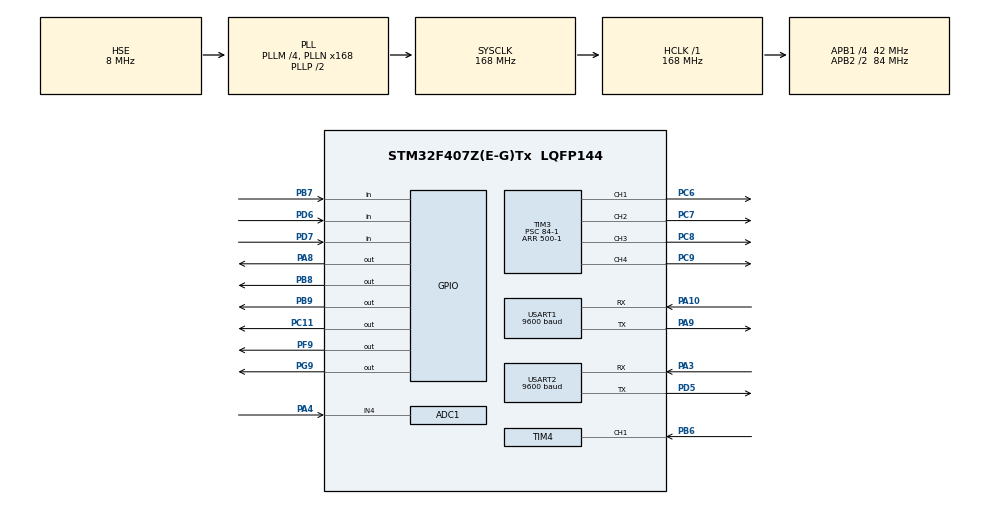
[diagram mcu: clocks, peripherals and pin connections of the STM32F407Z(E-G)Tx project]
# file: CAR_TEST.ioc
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ADC1.Channel-1\#ChannelRegularConversion=ADC_CHANNEL_4
ADC1.NbrOfConversionFlag=1
ADC1.Rank-1\#ChannelRegularConversion=1
ADC1.SamplingTime-1\#ChannelRegularConversion=ADC_SAMPLETIME_3CYCLES
ADC1.master=1
Mcu.Family=STM32F4
Mcu.Name=STM32F407Z(E-G)Tx
Mcu.Package=LQFP144
NVIC.PriorityGroup=NVIC_PRIORITYGROUP_4
NVIC.TIM1_UP_TIM10_IRQn=true\:0\:0\:false\:false\:true\:true\:true\:true
NVIC.TIM4_IRQn=true\:0\:0\:false\:false\:true\:true\:true\:true
NVIC.USART1_IRQn=true\:0\:0\:false\:false\:true\:true\:true\:true
NVIC.USART2_IRQn=true\:0\:0\:false\:false\:true\:true\:true\:true
PA10.Mode=Asynchronous
PA10.Signal=USART1_RX
PA13.Mode=Serial_Wire
PA13.Signal=SYS_JTMS-SWDIO
PA14.Mode=Serial_Wire
PA14.Signal=SYS_JTCK-SWCLK
PA3.Mode=Asynchronous
PA3.Signal=USART2_RX
PA4.Signal=ADCx_IN4
PA8.Signal=GPIO_Output
PA9.Mode=Asynchronous
PA9.Signal=USART1_TX
PB6.GPIO_PuPd=GPIO_NOPULL
PB6.GPIO_Speed=GPIO_SPEED_FREQ_VERY_HIGH
PB6.Signal=S_TIM4_CH1
PB7.GPIO_PuPd=GPIO_PULLUP
PB7.Signal=GPIO_Input
PB8.GPIO_ModeDefaultOutputPP=GPIO_MODE_OUTPUT_PP
PB8.GPIO_PuPd=GPIO_PULLUP
PB8.GPIO_Speed=GPIO_SPEED_FREQ_VERY_HIGH
PB8.PinState=GPIO_PIN_SET
PB8.Signal=GPIO_Output
PB9.GPIO_ModeDefaultOutputPP=GPIO_MODE_OUTPUT_PP
PB9.GPIO_PuPd=GPIO_PULLUP
PB9.GPIO_Speed=GPIO_SPEED_FREQ_VERY_HIGH
PB9.PinState=GPIO_PIN_SET
PB9.Signal=GPIO_Output
PC11.GPIO_PuPd=GPIO_PULLUP
PC11.GPIO_Speed=GPIO_SPEED_FREQ_VERY_HIGH
PC11.PinState=GPIO_PIN_RESET
PC11.Signal=GPIO_Output
PC14-OSC32_IN.Mode=LSE-External-Oscillator
PC14-OSC32_IN.Signal=RCC_OSC32_IN
PC15-OSC32_OUT.Mode=LSE-External-Oscillator
PC15-OSC32_OUT.Signal=RCC_OSC32_OUT
PC6.Signal=S_TIM3_CH1
PC7.Signal=S_TIM3_CH2
PC8.Signal=S_TIM3_CH3
PC9.Signal=S_TIM3_CH4
PD5.Mode=Asynchronous
PD5.Signal=USART2_TX
PD6.Signal=GPIO_Input
PD7.GPIO_Mode=GPIO_MODE_INPUT
PD7.GPIO_PuPd=GPIO_NOPULL
PD7.Signal=GPIO_Input
PF9.GPIO_ModeDefaultOutputPP=GPIO_MODE_OUTPUT_PP
PF9.GPIO_PuPd=GPIO_PULLUP
PF9.GPIO_Speed=GPIO_SPEED_FREQ_VERY_HIGH
PF9.PinState=GPIO_PIN_RESET
PF9.Signal=GPIO_Output
PG9.GPIO_PuPd=GPIO_PULLUP
PG9.GPIO_Speed=GPIO_SPEED_FREQ_VERY_HIGH
PG9.PinState=GPIO_PIN_SET
PG9.Signal=GPIO_Output
PH0-OSC_IN.Mode=HSE-External-Oscillator
PH0-OSC_IN.Signal=RCC_OSC_IN
PH1-OSC_OUT.Mode=HSE-External-Oscillator
PH1-OSC_OUT.Signal=RCC_OSC_OUT
ProjectManager.HeapSize=0x200
ProjectManager.StackSize=0x400
ProjectManager.TargetToolchain=MDK-ARM V5.32
RCC.48MHZClocksFreq_Value=84000000
RCC.AHBFreq_Value=168000000
RCC.APB1CLKDivider=RCC_HCLK_DIV4
RCC.APB1Freq_Value=42000000
RCC.APB1TimFreq_Value=84000000
RCC.APB2CLKDivider=RCC_HCLK_DIV2
RCC.APB2Freq_Value=84000000
RCC.APB2TimFreq_Value=168000000
RCC.CortexFreq_Value=168000000
RCC.HCLKFreq_Value=168000000
RCC.HSE_VALUE=8000000
RCC.HSI_VALUE=16000000
RCC.PLLM=4
RCC.PLLN=168
RCC.PLLSourceVirtual=RCC_PLLSOURCE_HSE
RCC.SYSCLKFreq_VALUE=168000000
RCC.SYSCLKSource=RCC_SYSCLKSOURCE_PLLCLK
RCC.VCOOutputFreq_Value=336000000
SH.ADCx_IN4.0=ADC1_IN4,IN4
SH.S_TIM3_CH1.0=TIM3_CH1,PWM Generation1 CH1
SH.S_TIM3_CH2.0=TIM3_CH2,PWM Generation2 CH2
SH.S_TIM3_CH3.0=TIM3_CH3,PWM Generation3 CH3
SH.S_TIM3_CH4.0=TIM3_CH4,PWM Generation4 CH4
SH.S_TIM4_CH1.0=TIM4_CH1,Input_Capture1_from_TI1
TIM10.AutoReloadPreload=TIM_AUTORELOAD_PRELOAD_ENABLE
TIM10.Period=20000-1
TIM10.Prescaler=8400-1
TIM3.Channel-PWM\ Generation1\ CH1=TIM_CHANNEL_1
TIM3.Channel-PWM\ Generation2\ CH2=TIM_CHANNEL_2
TIM3.Channel-PWM\ Generation3\ CH3=TIM_CHANNEL_3
TIM3.Channel-PWM\ Generation4\ CH4=TIM_CHANNEL_4
TIM3.Period=500-1
TIM3.Prescaler=84-1
TIM4.AutoReloadPreload=TIM_AUTORELOAD_PRELOAD_DISABLE
TIM4.Channel-Input_Capture1_from_TI1=TIM_CHANNEL_1
TIM4.ICFilter_CH1=0
TIM4.Prescaler=84-1
USART1.BaudRate=9600
USART1.VirtualMode=VM_ASYNC
USART2.BaudRate=9600
USART2.VirtualMode=VM_ASYNC
VP_TIM10_VS_ClockSourceINT.Mode=Enable_Timer
VP_TIM3_VS_ClockSourceINT.Mode=Internal
VP_TIM4_VS_ClockSourceINT.Mode=Internal
board=custom

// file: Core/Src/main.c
/* USER CODE BEGIN Header */
/**
  ******************************************************************************
  * @file           : main.c
  * @brief          : Main program body
  ******************************************************************************
  * @attention
  *
  * Copyright (c) 2023 STMicroelectronics.
  * All rights reserved.
  *
  * This software is licensed under terms that can be found in the LICENSE file
  * in the root directory of this software component.
  * If no LICENSE file comes with this software, it is provided AS-IS.
  *
  ******************************************************************************
  */
/* USER CODE END Header */
#include "main.h"
#include "adc.h"
#include "tim.h"
#include "usart.h"
#include "gpio.h"

/* USER CODE BEGIN Includes */
#include "getdata.h"
#include "stdio.h"
#include "oled.h"
#include "MyI2C.h"
/* USER CODE END Includes */

void SystemClock_Config(void);

/* USER CODE BEGIN 0 */
uint16_t RxBuffer[10] = {0};
uint8_t flag_capture = 0;
uint8_t temperature = 1;  //温度
uint8_t humidity = 1;     //湿度
void HAL_TIM_PeriodElapsedCallback(TIM_HandleTypeDef *htim)
{
	uint16_t MQ_2_Data = 0;

	if(htim == &htim10)
	{
		MQ_2_Data = Get_Adc(MQ_2_Data);
		//接收DHT11的温度和湿度的值
		//DHT11_Read_Data(&temperature , &humidity);
		OLED_P6x8Num(45,1,MQ_2_Data,4);
		OLED_P6x8Num(32,2,temperature,4);
		OLED_P6x8Num(32,3,humidity,4);
	}
}

//void HAL_TIM_IC_CaptureCallback(TIM_HandleTypeDef *htim)
//{
//	//HAL_GPIO_WritePin(GPIOF,GPIO_PIN_9,GPIO_PIN_RESET);
//	if(htim->Instance == TIM4)
//	{
//		if(!flag_capture)
//		{
//			//HAL_GPIO_WritePin(GPIOF,GPIO_PIN_9,GPIO_PIN_RESET);
//			flag_capture = 1;
//			RxBuffer[1] = HAL_TIM_ReadCapturedValue(&htim4,TIM_CHANNEL_1);//获取当前的捕获值.
//			//printf("buf1: %d",RxBuffer[1]);
//			//HAL_TIM_IC_Start_IT(&htim4,TIM_CHANNEL_1);
//			__HAL_TIM_SET_CAPTUREPOLARITY(&htim4,TIM_CHANNEL_1,TIM_ICPOLARITY_FALLING);
//			return;
//		}
//		else if(flag_capture)
//		{
//			//HAL_GPIO_WritePin(GPIOF,GPIO_PIN_9,GPIO_PIN_RESET);
//			RxBuffer[2] = HAL_TIM_ReadCapturedValue(&htim4,TIM_CHANNEL_1);//获取当前的捕获值.
//			//printf("buf2: %d\n\r",RxBuffer[2]);
//
//			__HAL_TIM_SET_COUNTER(&htim4,0);
//			HAL_TIM_IC_Stop_IT(&htim4,TIM_CHANNEL_1);
//			flag_capture = 2;
//			return;
//		}
//	}
//}

void HAL_UART_RxCpltCallback(UART_HandleTypeDef *huart)
{
    if(huart->Instance == USART2)
	{
		HAL_UART_Receive_IT(&huart2,(uint8_t *)RxBuffer, 1); // 写在if判断里面不好用，写在最后面
	}
}

/* USER CODE END 0 */

int main(void)
{

  /* MCU Configuration--------------------------------------------------------*/

  /* Reset of all peripherals, Initializes the Flash interface and the Systick. */
  HAL_Init();

  /* USER CODE BEGIN Init */
	//IIC_Init();
  /* USER CODE END Init */

  /* Configure the system clock */
  SystemClock_Config();

  /* Initialize all configured peripherals */
  MX_GPIO_Init();
  MX_TIM3_Init();
  MX_USART1_UART_Init();
  MX_TIM4_Init();
  MX_USART2_UART_Init();
  MX_ADC1_Init();
  MX_TIM10_Init();
  /* USER CODE BEGIN 2 */
  OLED_Init();
	HAL_TIM_PWM_Start(&htim3,TIM_CHANNEL_1);
	HAL_TIM_PWM_Start(&htim3,TIM_CHANNEL_2);
	HAL_TIM_PWM_Start(&htim3,TIM_CHANNEL_3);
	HAL_TIM_PWM_Start(&htim3,TIM_CHANNEL_4);
	HAL_UART_Receive_IT(&huart2, (uint8_t *)RxBuffer, 1);
	HAL_TIM_Base_Start_IT(&htim10); //打开定时器2
	//HAL_UART_Receive_IT(&huart1, (uint8_t *)RxBuffer, 1);
	//HAL_ADC_Start(&hadc1);
  /* USER CODE END 2 */

  /* Infinite loop */
  /* USER CODE BEGIN WHILE */
	OLED_P6x8Str(1,1,"smoke: ");
	OLED_P6x8Str(1,2,"tem: ");
	OLED_P6x8Str(1,3,"hum: ");
  while (1)
  {
		DHT11_Read_Data(&temperature , &humidity);
		if(RxBuffer[0] == 'f')
		{
			go_front();
		}
		else if(RxBuffer[0] == 'b')
		{
			go_back();
		}
		else if(RxBuffer[0] == 'r')
		{
			go_right();
		}
		else if(RxBuffer[0] == 'l')
		{
			go_left();
		}
    /* USER CODE END WHILE */

  }
}

void SystemClock_Config(void)
{
  RCC_OscInitTypeDef RCC_OscInitStruct = {0};
  RCC_ClkInitTypeDef RCC_ClkInitStruct = {0};

  /** Configure the main internal regulator output voltage
  */
  __HAL_RCC_PWR_CLK_ENABLE();
  __HAL_PWR_VOLTAGESCALING_CONFIG(PWR_REGULATOR_VOLTAGE_SCALE1);

  /** Initializes the RCC Oscillators according to the specified parameters
  * in the RCC_OscInitTypeDef structure.
  */
  RCC_OscInitStruct.OscillatorType = RCC_OSCILLATORTYPE_HSE;
  RCC_OscInitStruct.HSEState = RCC_HSE_ON;
  RCC_OscInitStruct.PLL.PLLState = RCC_PLL_ON;
  RCC_OscInitStruct.PLL.PLLSource = RCC_PLLSOURCE_HSE;
  RCC_OscInitStruct.PLL.PLLM = 4;
  RCC_OscInitStruct.PLL.PLLN = 168;
  RCC_OscInitStruct.PLL.PLLP = RCC_PLLP_DIV2;
  RCC_OscInitStruct.PLL.PLLQ = 4;
  if (HAL_RCC_OscConfig(&RCC_OscInitStruct) != HAL_OK)
  {
    Error_Handler();
  }

  /** Initializes the CPU, AHB and APB buses clocks
  */
  RCC_ClkInitStruct.ClockType = RCC_CLOCKTYPE_HCLK|RCC_CLOCKTYPE_SYSCLK
                              |RCC_CLOCKTYPE_PCLK1|RCC_CLOCKTYPE_PCLK2;
  RCC_ClkInitStruct.SYSCLKSource = RCC_SYSCLKSOURCE_PLLCLK;
  RCC_ClkInitStruct.AHBCLKDivider = RCC_SYSCLK_DIV1;
  RCC_ClkInitStruct.APB1CLKDivider = RCC_HCLK_DIV4;
  RCC_ClkInitStruct.APB2CLKDivider = RCC_HCLK_DIV2;

  if (HAL_RCC_ClockConfig(&RCC_ClkInitStruct, FLASH_LATENCY_5) != HAL_OK)
  {
    Error_Handler();
  }
}

void Error_Handler(void)
{
  __disable_irq();
  while (1)
  {
  }
}
